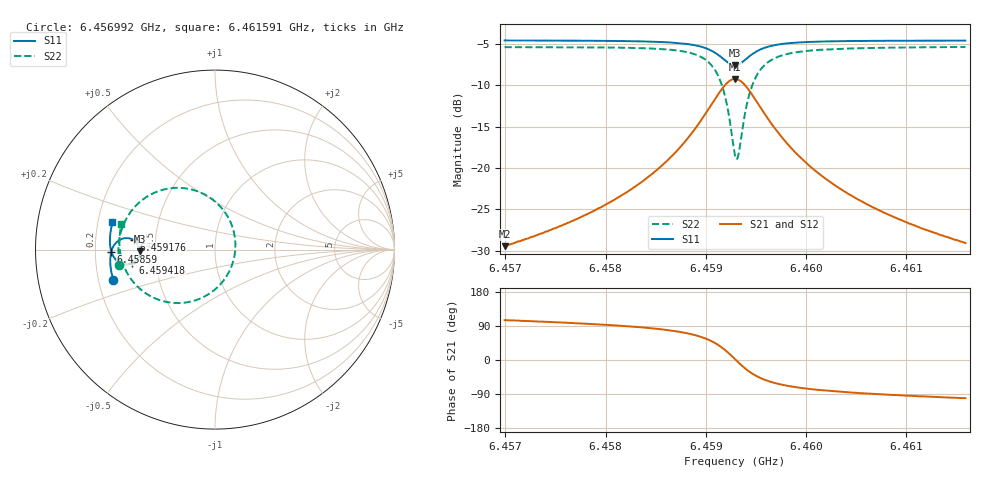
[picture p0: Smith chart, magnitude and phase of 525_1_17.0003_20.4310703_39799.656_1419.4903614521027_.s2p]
#  HZ  S  RI  R  50.00
! Rohde & Schwarz Vector Network Analyzer
! Rohde-Schwarz,ZNB20-2Port,1311601062101988,3.16
! Created: UTC 3/20/2024, 11:15:39 PM
! freq[Hz]  re:S11  im:S11  re:S21  im:S21  re:S12  im:S12  re:S22  im:S22
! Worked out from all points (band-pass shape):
!   401 points, 6.456992 GHz to 6.461591 GHz, reference 50 ohm
!   highest |S21| = -9.22 dB at 6.459291 GHz (marker M1); lowest = -29.5 dB at 6.456992 GHz (marker M2)
!   |S21| within 3 dB of the highest: 6.459061 GHz to 6.459521 GHz (459.7 kHz wide, 0.00712 % of centre)
!   lowest |S11| = -7.6 dB at 6.459291 GHz (marker M3), VSWR 2.44, Z = 20.5 - j0.466 ohm
!   |S11| at or under -10 dB: nowhere
!   |S22| runs from -18.9 to -5.3 dB; largest |S21 - S12| = 0.014
!   S11 on the Smith chart (normalised r, x): 6.456992 GHz: 0.26, -0.14; 6.45859 GHz: 0.27, -0.01; 6.459176 GHz: 0.37, +0.05; 6.459418 GHz: 0.37, -0.07; 6.461591 GHz: 0.26, +0.12
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6.4569918e9  -0.567 -0.171  -0.00878 0.0325  -0.00714 0.0324  -0.533 -0.0837
6.4577621e9  -0.581 -0.1037  -0.00553 0.0504  -0.00301 0.0499  -0.5382 0.0067
6.4582105e9  -0.5837 -0.0586  0.001 0.0713  0.00427 0.0699  -0.5288 0.0784
6.4585324e9  -0.5799 -0.0199  0.0145 0.0987  0.0184 0.0961  -0.5043 0.152
6.4585899e9  -0.578 -0.0119  0.0187 0.1057  0.0229 0.1026  -0.496 0.1684
6.4587968e9  -0.5651 0.0201  0.0463 0.1381  0.0504 0.1331  -0.4441 0.2411
6.4589463e9  -0.5422 0.0464  0.0917 0.1685  0.0949 0.1619  -0.3604 0.3056
6.4590843e9  -0.4983 0.0639  0.1791 0.1851  0.1799 0.1776  -0.2008 0.3442
6.4591762e9  -0.4539 0.0536  0.269 0.1535  0.2692 0.1478  -0.034 0.2935
6.4592452e9  -0.4248 0.0216  0.3296 0.0816  0.3317 0.0763  0.0818 0.1636
6.4592912e9  -0.418 -0.00938  0.3458 0.0136  0.3495 0.0066  0.1138 0.036
6.4593027e9  -0.4184 -0.0176  0.3456 -0.00423  0.3496 -0.0119  0.1133 0.00231
6.4593257e9  -0.4219 -0.0331  0.3399 -0.039  0.3438 -0.0481  0.102 -0.0637
6.4593717e9  -0.4375 -0.0592  0.3112 -0.099  0.3135 -0.1109  0.044 -0.1771
6.4594177e9  -0.4597 -0.0755  0.2691 -0.1401  0.2682 -0.1533  -0.0416 -0.2519
6.4595096e9  -0.5031 -0.0823  0.184 -0.171  0.1778 -0.1827  -0.2111 -0.2978
6.4596591e9  -0.5468 -0.0617  0.0959 -0.157  0.0875 -0.1633  -0.3791 -0.2478
6.4598201e9  -0.5684 -0.034  0.0513 -0.1289  0.0434 -0.1317  -0.4595 -0.1752
6.4600615e9  -0.581 0.00155  0.0221 -0.0973  0.0162 -0.098  -0.5072 -0.0924
6.4604294e9  -0.5856 0.045  0.00539 -0.0691  0.00146 -0.0686  -0.5292 -0.00878
6.4608318e9  -0.5835 0.0853  -0.0016 -0.052  -0.00445 -0.0511  -0.5325 0.0551
6.4615906e9  -0.5713 0.1525  -0.00653 -0.0345  -0.00832 -0.0336  -0.5211 0.145
